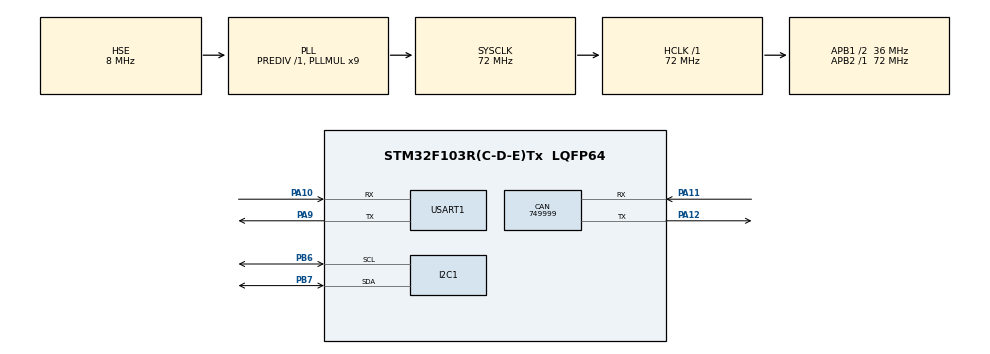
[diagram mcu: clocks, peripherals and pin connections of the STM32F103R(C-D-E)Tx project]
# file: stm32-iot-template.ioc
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CAN.CalculateBaudRate=749999
CAN.CalculateTimeBit=1333
CAN.CalculateTimeQuantum=444.44444444444446
I2C1.I2C_Mode=I2C_Fast
Mcu.Family=STM32F1
Mcu.Name=STM32F103R(C-D-E)Tx
Mcu.Package=LQFP64
NVIC.PriorityGroup=NVIC_PRIORITYGROUP_4
NVIC.TIM1_UP_IRQn=true\:0\:0\:false\:false\:true\:true\:true\:true
NVIC.USART1_IRQn=true\:0\:0\:false\:false\:true\:true\:true\:true
PA10.Mode=Asynchronous
PA10.Signal=USART1_RX
PA11.Mode=CAN_Activate
PA11.Signal=CAN_RX
PA12.Mode=CAN_Activate
PA12.Signal=CAN_TX
PA13.Mode=Serial_Wire
PA13.Signal=SYS_JTMS-SWDIO
PA14.Mode=Serial_Wire
PA14.Signal=SYS_JTCK-SWCLK
PA9.Mode=Asynchronous
PA9.Signal=USART1_TX
PB6.Mode=I2C
PB6.Signal=I2C1_SCL
PB7.Mode=I2C
PB7.Signal=I2C1_SDA
PD0-OSC_IN.Mode=HSE-External-Oscillator
PD0-OSC_IN.Signal=RCC_OSC_IN
PD1-OSC_OUT.Mode=HSE-External-Oscillator
PD1-OSC_OUT.Signal=RCC_OSC_OUT
ProjectManager.HeapSize=0x200
ProjectManager.StackSize=0x400
ProjectManager.TargetToolchain=STM32CubeIDE
RCC.AHBFreq_Value=72000000
RCC.APB1CLKDivider=RCC_HCLK_DIV2
RCC.APB1Freq_Value=36000000
RCC.APB1TimFreq_Value=72000000
RCC.APB2Freq_Value=72000000
RCC.APB2TimFreq_Value=72000000
RCC.HCLKFreq_Value=72000000
RCC.PLLMUL=RCC_PLL_MUL9
RCC.PLLSourceVirtual=RCC_PLLSOURCE_HSE
RCC.SYSCLKFreq_VALUE=72000000
RCC.SYSCLKSource=RCC_SYSCLKSOURCE_PLLCLK
RCC.USBFreq_Value=72000000
TIM1.Period=1999
TIM1.Prescaler=35999
USART1.VirtualMode=VM_ASYNC
VP_TIM1_VS_ClockSourceINT.Mode=Internal
board=custom

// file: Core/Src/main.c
/* USER CODE BEGIN Header */
/**
  ******************************************************************************
  * @file           : main.c
  * @brief          : Main program body
  ******************************************************************************
  * @attention
  *
  * Copyright (c) 2024 STMicroelectronics.
  * All rights reserved.
  *
  * This software is licensed under terms that can be found in the LICENSE file
  * in the root directory of this software component.
  * If no LICENSE file comes with this software, it is provided AS-IS.
  *
  ******************************************************************************
  */
/* USER CODE END Header */
#include "main.h"
#include "EEPROM.h"
#include "ESP8266.h"
#include "CANBus.h"
#include "OTA.h"
#include "Globals.h"
#include "LCD.h"

CAN_HandleTypeDef hcan;
I2C_HandleTypeDef hi2c1;
TIM_HandleTypeDef htim1;
UART_HandleTypeDef huart1;

EEPROM_HandleTypeDef heeprom;
ESP8266_HandleTypeDef hesp8266;
CANBus_HandleTypeDef hcanbus;

void SystemClock_Config(void);
static void MX_GPIO_Init(void);
static void MX_CAN_Init(void);
static void MX_I2C1_Init(void);
static void MX_TIM1_Init(void);
static void MX_USART1_UART_Init(void);
void Bootloader_JumpToApplication(void);

/* USER CODE BEGIN 0 */

void Bootloader_JumpToApplication(void) {
    uint32_t appJumpAddress = *(__IO uint32_t *)(0x08004000 + 4);
    void (*appResetHandler)(void) = (void (*)(void))appJumpAddress;
    HAL_DeInit();
    __set_MSP(*(__IO uint32_t *)0x08004000);
    appResetHandler();
}

void Bootloader_Main(void) {
    // update check section
    OTA_CheckForUpdate();
    Bootloader_JumpToApplication();
}

/* USER CODE END 0 */

int main(void)
{

  /* MCU Configuration--------------------------------------------------------*/

  /* Reset of all peripherals, Initializes the Flash interface and the Systick. */
  HAL_Init();

  /* Configure the system clock */
  SystemClock_Config();

  /* Initialize all configured peripherals */
  MX_GPIO_Init();
  MX_CAN_Init();
  MX_I2C1_Init();
  MX_TIM1_Init();
  MX_USART1_UART_Init();

  /* USER CODE BEGIN 2 */
  EEPROM_Init(&heeprom, &hi2c1, 0xA0);

  if (EEPROM_FillData(&heeprom, 0x0000, defaultData, sizeof(defaultData)) != HAL_OK) {
	  // Handle EEPROM error
      Error_Handler();
  }

  if (ESP8266_Init(&hesp8266, &huart1, ESP8266_MODE_STATION) != HAL_OK) {
      // Handle ESP8266 error
      Error_Handler();
  }
  CANBus_Init(&hcanbus, &hcan);

  lcd_init();  // Initialize LCD
  lcd_clear();

  Bootloader_Main();
  /* USER CODE END 2 */

  /* Infinite loop */
  /* USER CODE BEGIN WHILE */
  while (1)
  {
    // Main application code
    /* USER CODE END WHILE */

  }
}

void SystemClock_Config(void)
{
  RCC_OscInitTypeDef RCC_OscInitStruct = {0};
  RCC_ClkInitTypeDef RCC_ClkInitStruct = {0};

  /** Initializes the RCC Oscillators according to the specified parameters
  * in the RCC_OscInitTypeDef structure.
  */
  RCC_OscInitStruct.OscillatorType = RCC_OSCILLATORTYPE_HSE;
  RCC_OscInitStruct.HSEState = RCC_HSE_ON;
  RCC_OscInitStruct.HSEPredivValue = RCC_HSE_PREDIV_DIV1;
  RCC_OscInitStruct.HSIState = RCC_HSI_ON;
  RCC_OscInitStruct.PLL.PLLState = RCC_PLL_ON;
  RCC_OscInitStruct.PLL.PLLSource = RCC_PLLSOURCE_HSE;
  RCC_OscInitStruct.PLL.PLLMUL = RCC_PLL_MUL9;
  if (HAL_RCC_OscConfig(&RCC_OscInitStruct) != HAL_OK)
  {
    Error_Handler();
  }

  /** Initializes the CPU, AHB and APB buses clocks
  */
  RCC_ClkInitStruct.ClockType = RCC_CLOCKTYPE_HCLK|RCC_CLOCKTYPE_SYSCLK
                              |RCC_CLOCKTYPE_PCLK1|RCC_CLOCKTYPE_PCLK2;
  RCC_ClkInitStruct.SYSCLKSource = RCC_SYSCLKSOURCE_PLLCLK;
  RCC_ClkInitStruct.AHBCLKDivider = RCC_SYSCLK_DIV1;
  RCC_ClkInitStruct.APB1CLKDivider = RCC_HCLK_DIV2;
  RCC_ClkInitStruct.APB2CLKDivider = RCC_HCLK_DIV1;

  if (HAL_RCC_ClockConfig(&RCC_ClkInitStruct, FLASH_LATENCY_2) != HAL_OK)
  {
    Error_Handler();
  }
}

static void MX_CAN_Init(void)
{
  hcan.Instance = CAN1;
  hcan.Init.Prescaler = 16;
  hcan.Init.Mode = CAN_MODE_NORMAL;
  hcan.Init.SyncJumpWidth = CAN_SJW_1TQ;
  hcan.Init.TimeSeg1 = CAN_BS1_1TQ;
  hcan.Init.TimeSeg2 = CAN_BS2_1TQ;
  hcan.Init.TimeTriggeredMode = DISABLE;
  hcan.Init.AutoBusOff = DISABLE;
  hcan.Init.AutoWakeUp = DISABLE;
  hcan.Init.AutoRetransmission = DISABLE;
  hcan.Init.ReceiveFifoLocked = DISABLE;
  hcan.Init.TransmitFifoPriority = DISABLE;
  if (HAL_CAN_Init(&hcan) != HAL_OK)
  {
    Error_Handler();
  }
}

static void MX_I2C1_Init(void)
{
  hi2c1.Instance = I2C1;
  hi2c1.Init.ClockSpeed = 400000;
  hi2c1.Init.DutyCycle = I2C_DUTYCYCLE_2;
  hi2c1.Init.OwnAddress1 = 0;
  hi2c1.Init.AddressingMode = I2C_ADDRESSINGMODE_7BIT;
  hi2c1.Init.DualAddressMode = I2C_DUALADDRESS_DISABLE;
  hi2c1.Init.GeneralCallMode = I2C_GENERALCALL_DISABLE;
  hi2c1.Init.NoStretchMode = I2C_NOSTRETCH_DISABLE;
  if (HAL_I2C_Init(&hi2c1) != HAL_OK)
  {
    Error_Handler();
  }
}

static void MX_TIM1_Init(void)
{
  TIM_ClockConfigTypeDef sClockSourceConfig = {0};
  TIM_MasterConfigTypeDef sMasterConfig = {0};

  htim1.Instance = TIM1;
  htim1.Init.Prescaler = 35999;
  htim1.Init.CounterMode = TIM_COUNTERMODE_UP;
  htim1.Init.Period = 1999;
  htim1.Init.ClockDivision = TIM_CLOCKDIVISION_DIV1;
  htim1.Init.RepetitionCounter = 0;
  htim1.Init.AutoReloadPreload = TIM_AUTORELOAD_PRELOAD_DISABLE;
  if (HAL_TIM_Base_Init(&htim1) != HAL_OK)
  {
    Error_Handler();
  }
  sClockSourceConfig.ClockSource = TIM_CLOCKSOURCE_INTERNAL;
  if (HAL_TIM_ConfigClockSource(&htim1, &sClockSourceConfig) != HAL_OK)
  {
    Error_Handler();
  }
  sMasterConfig.MasterOutputTrigger = TIM_TRGO_RESET;
  sMasterConfig.MasterSlaveMode = TIM_MASTERSLAVEMODE_DISABLE;
  if (HAL_TIMEx_MasterConfigSynchronization(&htim1, &sMasterConfig) != HAL_OK)
  {
    Error_Handler();
  }
}

static void MX_USART1_UART_Init(void)
{
  huart1.Instance = USART1;
  huart1.Init.BaudRate = 115200;
  huart1.Init.WordLength = UART_WORDLENGTH_8B;
  huart1.Init.StopBits = UART_STOPBITS_1;
  huart1.Init.Parity = UART_PARITY_NONE;
  huart1.Init.Mode = UART_MODE_TX_RX;
  huart1.Init.HwFlowCtl = UART_HWCONTROL_NONE;
  huart1.Init.OverSampling = UART_OVERSAMPLING_16;
  if (HAL_UART_Init(&huart1) != HAL_OK)
  {
    Error_Handler();
  }
}

static void MX_GPIO_Init(void)
{
  __HAL_RCC_GPIOD_CLK_ENABLE();
  __HAL_RCC_GPIOA_CLK_ENABLE();
  __HAL_RCC_GPIOB_CLK_ENABLE();
}

void Error_Handler(void)
{
  __disable_irq();
  while (1)
  {
  }
}
